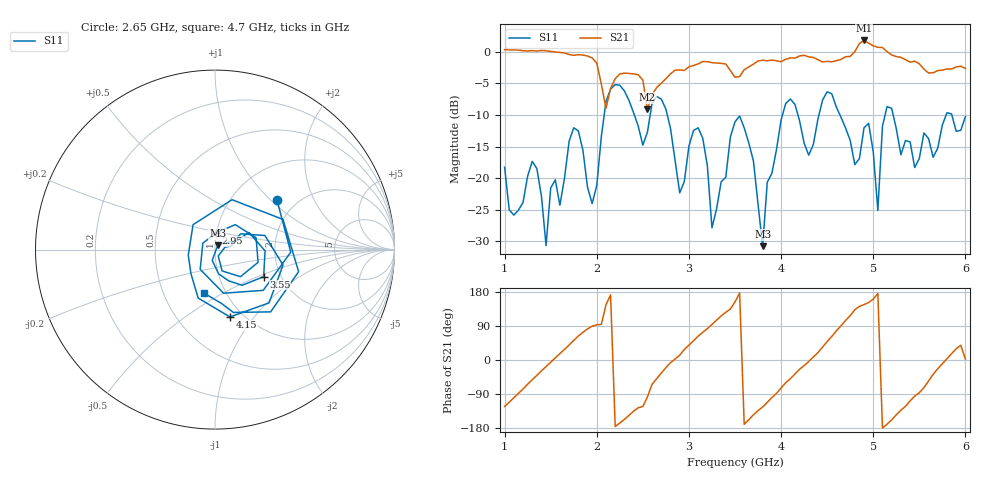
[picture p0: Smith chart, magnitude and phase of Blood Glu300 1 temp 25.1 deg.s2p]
! NanoVNA-App
! Date: 2024-03-21 18:36:59
! Start: 1GHz Stop: 6GHz Points: 101
! S-Parameter data: F S11 S21 S12 S22
# Hz S RI R 50
!	Frequency	S11_Real	S11_Imag	S21_Real	S21_Imag	S12_Real	S12_Imag	S22_Real	S22_Imag
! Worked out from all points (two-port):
!   101 points, 1 GHz to 6 GHz, reference 50 ohm
!   highest |S21| = 1.78 dB at 4.9 GHz (marker M1); lowest = -9.1 dB at 2.55 GHz (marker M2)
!   |S21| within 3 dB of the highest: start of sweep to 1.965 GHz; 4.65 GHz to 5.343 GHz (692.9 MHz wide, 13.9 % of centre)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
!   lowest |S11| = -30.8 dB at 3.8 GHz (marker M3), VSWR 1.06, Z = 51.5 + j2.53 ohm
!   |S11| at or under -10 dB: start of sweep to 2.081 GHz; 2.765 GHz to 4.015 GHz (1.25 GHz wide, 36.9 % of centre); 5.216 GHz to 5.791 GHz (574.6 MHz wide, 10.4 % of centre)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
!   S12 and S22 are empty: the file has one direction only
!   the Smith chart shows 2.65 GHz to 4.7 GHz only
!   S11 on the Smith chart (normalised r, x): 2.65 GHz: 1.59, +1.10; 2.95 GHz: 1.00, +0.19; 3.55 GHz: 1.63, -0.54; 4.15 GHz: 0.87, -0.76; 4.7 GHz: 0.79, -0.41
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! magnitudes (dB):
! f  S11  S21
! 1 GHz  -18.3  0.3
! 1.35 GHz  -18.5  0.1
! 1.45 GHz  -30.7  0.2
! 1.85 GHz  -15.6  -0.5
! 1.95 GHz  -24.0  -1.0
! 2.2 GHz  -5.2  -4.3
! 2.55 GHz  -12.7  -9.1
! 2.65 GHz  -7.1  -5.7
! 2.7 GHz  -7.5  -5.0
! 2.95 GHz  -20.5  -3.0
! 3.1 GHz  -12.0  -1.9
! 3.25 GHz  -27.9  -1.7
! 3.5 GHz  -11.1  -4.0
! 3.55 GHz  -10.2  -3.9
! 3.8 GHz  -30.8  -1.3
! 4.15 GHz  -8.3  -1.0
! 4.35 GHz  -14.7  -0.9
! 4.7 GHz  -12.1  -0.8
! 4.9 GHz  -12.0  1.8
! 5.05 GHz  -25.1  0.7
! 5.2 GHz  -9.0  -0.5
! 6 GHz  -10.3  -2.6
